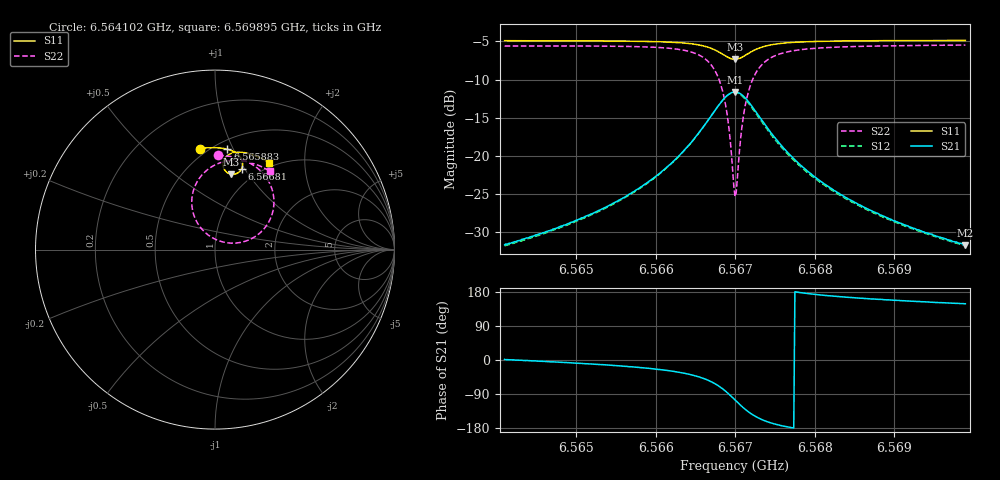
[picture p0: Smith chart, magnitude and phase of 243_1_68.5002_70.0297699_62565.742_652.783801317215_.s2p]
#  HZ  S  RI  R  50.00
! Rohde & Schwarz Vector Network Analyzer
! Rohde-Schwarz,ZNB20-2Port,1311601062101988,3.16
! Created: UTC 3/20/2024, 4:59:25 PM
! freq[Hz]  re:S11  im:S11  re:S21  im:S21  re:S12  im:S12  re:S22  im:S22
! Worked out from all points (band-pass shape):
!   401 points, 6.564102 GHz to 6.569895 GHz, reference 50 ohm
!   highest |S21| = -11.60 dB at 6.566998 GHz (marker M1); lowest = -31.7 dB at 6.569895 GHz (marker M2)
!   |S21| within 3 dB of the highest: 6.566708 GHz to 6.567287 GHz (579.5 kHz wide, 0.00882 % of centre)
!   lowest |S11| = -7.3 dB at 6.566998 GHz (marker M3), VSWR 2.51, Z = 40.4 + j41.7 ohm
!   |S11| at or under -10 dB: nowhere
!   |S22| runs from -25.3 to -5.5 dB; largest |S21 - S12| = 0.012
!   S11 on the Smith chart (normalised r, x): 6.564102 GHz: 0.45, +0.76; 6.565883 GHz: 0.58, +0.95; 6.56681 GHz: 0.83, +0.97; 6.569895 GHz: 0.93, +1.34
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6.564102e9  -0.0822 0.5631  0.0262 0.000707  0.0257 0.000109  0.0165 0.525
6.5650723e9  -0.00383 0.568  0.0389 -0.00632  0.0381 -0.0068  0.1056 0.5144
6.5658832e9  0.0694 0.5588  0.0617 -0.0242  0.0608 -0.0249  0.203 0.4769
6.5660425e9  0.0856 0.554  0.0694 -0.0322  0.0683 -0.0331  0.2278 0.4604
6.5663466e9  0.1192 0.5372  0.0884 -0.0604  0.087 -0.0616  0.2835 0.4045
6.5665783e9  0.1452 0.5091  0.1024 -0.1092  0.1001 -0.1113  0.3241 0.3105
6.5667087e9  0.154 0.4809  0.098 -0.1585  0.0941 -0.1613  0.3232 0.2164
6.56681e9  0.1488 0.4515  0.0717 -0.2088  0.0652 -0.2115  0.2782 0.1219
6.5668969e9  0.1283 0.4279  0.0199 -0.2475  0.0104 -0.2481  0.1838 0.0521
6.5669259e9  0.1179 0.4227  -0.00406 -0.2551  -0.0142 -0.2541  0.1411 0.0397
6.5669838e9  0.0937 0.4194  -0.0565 -0.2562  -0.0673 -0.2519  0.0474 0.0418
6.5669983e9  0.0875 0.4206  -0.0699 -0.2534  -0.0803 -0.2479  0.0245 0.0485
6.5670272e9  0.0757 0.4245  -0.095 -0.2435  -0.1046 -0.2364  -0.0185 0.0683
6.5670852e9  0.0568 0.4395  -0.136 -0.2119  -0.1426 -0.2022  -0.0851 0.1291
6.5671286e9  0.0485 0.4541  -0.1557 -0.1821  -0.1598 -0.1719  -0.1148 0.1834
6.5671865e9  0.0446 0.4743  -0.1683 -0.1425  -0.1695 -0.1326  -0.1293 0.254
6.5672589e9  0.0487 0.4961  -0.1679 -0.1  -0.1669 -0.0917  -0.1207 0.3274
6.5675196e9  0.0877 0.5346  -0.1259 -0.0217  -0.1232 -0.0182  -0.0251 0.4572
6.5679685e9  0.1461 0.5423  -0.0749 0.00794  -0.0731 0.00907  0.0949 0.497
6.568403e9  0.1889 0.5347  -0.0516 0.0132  -0.0502 0.0137  0.1641 0.4929
6.5689388e9  0.2335 0.5194  -0.0362 0.0142  -0.0353 0.0147  0.2242 0.4766
6.5698945e9  0.3025 0.4842  -0.0222 0.0137  -0.0218 0.0139  0.3041 0.4375
